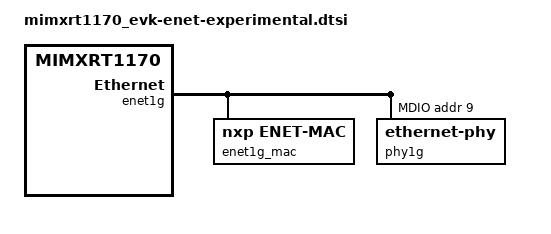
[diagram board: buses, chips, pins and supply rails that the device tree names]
/*
 * Copyright 2021,2023 NXP
 *
 * SPDX-License-Identifier: Apache-2.0
 */

/ {
	soc {
		// /delete-node/ ethernet@40424000;
		/delete-node/ ethernet@40420000;

		// enet: ethernet@40424000 {
		// 	compatible = "nxp,enet";
		// 	reg = <0x40424000 0x628>;
		// 	clocks = <&ccm IMX_CCM_ENET_CLK 0 0>;
		// 	enet_mac: ethernet {
		// 		status = "disabled";
		// 		compatible = "nxp,enet-mac";
		// 		interrupts = <137 0>;
		// 		interrupt-names = "COMMON";
		// 		nxp,mdio = <&enet_mdio>;
		// 		nxp,ptp-clock = <&enet_ptp_clock>;
		// 		phy-connection-type = "rmii";
		// 	};
		// 	enet_mdio: mdio {
		// 		status = "disabled";
		// 		compatible = "nxp,enet-mdio";
		// 		#address-cells = <1>;
		// 		#size-cells = <0>;
		// 	};
		// 	enet_ptp_clock: ptp_clock {
		// 		status = "disabled";
		// 		compatible = "nxp,enet-ptp-clock";
		// 		interrupts = <138 0>;
		// 		clocks = <&ccm IMX_CCM_ENET_CLK 0 0>;
		// 	};
		// };

		enet1g: ethernet@40420000 {
			compatible = "nxp,enet";
			reg = <0x40420000 0x628>;
			clocks = <&ccm IMX_CCM_ENET_CLK 0 0>;
			enet1g_mac: ethernet {
				status = "disabled";
				compatible = "nxp,enet-mac";
				interrupts = <141 0>;
				interrupt-names = "COMMON";
				nxp,mdio = <&enet1g_mdio>;
				nxp,ptp-clock = <&enet1g_ptp_clock>;
				phy-connection-type = "gmii";
			};
			enet1g_mdio: mdio {
				status = "disabled";
				compatible = "nxp,enet-mdio";
				#address-cells = <1>;
				#size-cells = <0>;
			};
			// The devkit does not have ptp setup on the ENET1G
			enet1g_ptp_clock: ptp_clock {
				status = "disabled";
				compatible = "nxp,enet-ptp-clock";
			};
		};
	};
};

// &enet_mac {
// 	//status = "okay";
// 	pinctrl-0 = <&pinmux_enet>;
// 	pinctrl-names = "default";
// 	phy-handle = <&phy>;
// };

// &enet_mdio {
// 	//status = "okay";
// 	pinctrl-0 = <&pinmux_enet_mdio>;
// 	pinctrl-names = "default";
// 	phy: phy@2 {
// 		status = "okay";
// 		compatible = "microchip,ksz8081";
// 		reg = <2>;
// 		mc,reset-gpio = <&gpio12 12 GPIO_ACTIVE_HIGH>;			// ENET_RST
// 		mc,interrupt-gpio = <&gpio9 11 GPIO_ACTIVE_HIGH>;		// ENET_INT
// 		mc,interface-type = "rmii";
// 	};
// };

// &enet_ptp_clock {
// 	//status = "okay";
// 	pinctrl-0 = <&pinmux_ptp>;
// 	pinctrl-names = "default";
// };

&enet1g_mac {
	status = "okay";
	pinctrl-0 = <&pinmux_enet1g>;
	pinctrl-names = "default";
	phy-handle = <&phy1g>;
};

&enet1g_mdio {
	status = "okay";
	pinctrl-0 = <&pinmux_enet1g_mdio>;
	pinctrl-names = "default";
	phy1g: phy1g@9 {
		status = "okay";
		compatible = "ethernet-phy";
		reg = <9>;
	};
};

&pinctrl {
	/delete-node/ pinmux_ptp;
	/delete-node/ pinmux_enet;

	pinmux_enet: pinmux_enet {
		group0 {
			pinmux = <&iomuxc_gpio_disp_b2_05_enet_ref_clk>;	// ENET_TX_REF_CLK
			bias-disable;
			drive-strength = "high";
			slew-rate = "fast";
			input-enable;
		};
		group1 {
			pinmux = <&iomuxc_gpio_disp_b2_02_enet_tdata00>,	// ENET_TXD0
				<&iomuxc_gpio_disp_b2_03_enet_tdata01>,		// ENET_TXD1
				<&iomuxc_gpio_disp_b2_04_enet_tx_en>,		// ENET_TXEN
				<&iomuxc_gpio_disp_b2_06_enet_rdata00>,		// ENET_RXD0
				<&iomuxc_gpio_disp_b2_07_enet_rdata01>,		// ENET_RXD1
				<&iomuxc_gpio_disp_b2_09_enet_rx_er>,		// ENET_RXER
				<&iomuxc_gpio_disp_b2_08_enet_rx_en>;		// ENET_CRS_DV
			drive-strength = "high";
			bias-pull-up;
			slew-rate = "fast";
		};
	};

	pinmux_enet_mdio: pinmux_enet_mdio {
		group0 {
			pinmux = <&iomuxc_gpio_ad_32_enet_mdc>,			// ENET_MDC
				<&iomuxc_gpio_ad_33_enet_mdio>,			// ENET_MDIO
				<&iomuxc_lpsr_gpio_lpsr_12_gpio12_io12>,	// ENET_RST
				<&iomuxc_gpio_ad_12_gpio9_io11>;		// ENET_INT
			drive-strength = "high";
			bias-pull-up;
			slew-rate = "fast";
		};
	};

	pinmux_ptp: pinmux_ptp {
		group0 {
			pinmux = <&iomuxc_gpio_ad_34_enet_1588_event0_in>,	// 1588_EVENT0_IN
				<&iomuxc_gpio_ad_35_enet_1588_event0_out>;	// 1588_EVENT0_OUT
			drive-strength = "high";
			slew-rate = "slow";
		};
	};

	pinmux_enet1g: pinmux_enet1g {
		group0 {
			pinmux = <&iomuxc_gpio_disp_b1_11_enet_1g_tx_clk_io>,	// ENET_RGMII_TXC
				<&iomuxc_gpio_disp_b1_01_enet_1g_rx_clk>;	// ENET_RGMII_RXC
			bias-disable;
			drive-strength = "high";
			slew-rate = "fast";
			input-enable;
		};
		group1 {
			pinmux = <&iomuxc_gpio_disp_b1_09_enet_1g_tdata00>,	// ENET_RGMII_TXD0
				<&iomuxc_gpio_disp_b1_08_enet_1g_tdata01>,	// ENET_RGMII_TXD1
				<&iomuxc_gpio_disp_b1_07_enet_1g_tdata02>,	// ENET_RGMII_TXD2
				<&iomuxc_gpio_disp_b1_06_enet_1g_tdata03>,	// ENET_RGMII_TXD3
				<&iomuxc_gpio_disp_b1_10_enet_1g_tx_en>,	// ENET_RGMII_TX_EN
				<&iomuxc_gpio_disp_b1_02_enet_1g_rdata00>,	// ENET_RGMII_RXD0
				<&iomuxc_gpio_disp_b1_03_enet_1g_rdata01>,	// ENET_RGMII_RXD1
				<&iomuxc_gpio_disp_b1_04_enet_1g_rdata02>,	// ENET_RGMII_RXD2
				<&iomuxc_gpio_disp_b1_05_enet_1g_rdata03>,	// ENET_RGMII_RXD3
				<&iomuxc_gpio_disp_b1_00_enet_1g_rx_en>;	// ENET_RGMII_RX_EN
			drive-strength = "high";
			bias-pull-up;
			slew-rate = "fast";
		};
	};

	pinmux_enet1g_mdio: pinmux_enet1g_mdio {
		group0 {
			pinmux = <&iomuxc_gpio_emc_b2_19_enet_1g_mdc>,		// ENET_RGMII_MDC
				<&iomuxc_gpio_emc_b2_20_enet_1g_mdio>,		// ENET_RGMII_MDIO
				<&iomuxc_gpio_disp_b2_13_gpio11_io14>,		// ETHPHY_RST_B
				<&iomuxc_gpio_disp_b2_12_gpio11_io13>;		// RGMII1_PHY_INTB
			drive-strength = "high";
			bias-pull-up;
			slew-rate = "fast";
		};
	};
};
